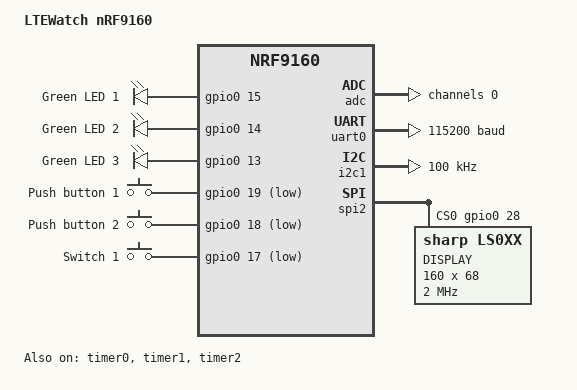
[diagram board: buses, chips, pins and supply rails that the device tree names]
/*
 * Copyright (c) 2018-2020 Nordic Semiconductor ASA
 *
 * SPDX-License-Identifier: Apache-2.0
 */
#include "ltewatch_nrf9160_common-pinctrl.dtsi"

/ {
	model = "LTEWatch nRF9160";
	compatible = "nordic,ltewatch_nrf9160";

	chosen {
		zephyr,console = &uart0;
		zephyr,shell-uart = &uart0;
		zephyr,uart-mcumgr = &uart0;
		zephyr,display = &ls0xx;
	};

	leds {
		compatible = "gpio-leds";
		led0: led_0 {
			gpios = <&gpio0 15 0>;
			label = "Green LED 1";
		};
		led1: led_1 {
			gpios = <&gpio0 14 0>;
			label = "Green LED 2";
		};
		led2: led_2 {
			gpios = <&gpio0 13 0>;
			label = "Green LED 3";
		};
	};

	buttons {
		/*
		 * Unlike most DK boards, we do not actually have 4 buttons
		 * on nRF9160 DK. Instead, we have 2 buttons and 2 switches.
		 * Treat the switches as buttons anyway, for convenience.
		 * This makes life easier for software that wants to deal with
		 * the usual "4 buttons per DK board" convention.
		 */
		compatible = "gpio-keys";
		button0: button_0 {
			gpios = <&gpio0 19 (GPIO_PULL_UP | GPIO_ACTIVE_LOW)>;
			label = "Push button 1";
		};
		button1: button_1 {
			gpios = <&gpio0 18 (GPIO_PULL_UP | GPIO_ACTIVE_LOW)>;
			label = "Push button 2";
		};
		button2: button_2 {
			gpios = <&gpio0 17 (GPIO_PULL_UP | GPIO_ACTIVE_LOW)>;
			label = "Switch 1";
		};
	};

	nrf52840_reset: gpio-reset {
		compatible = "nordic,nrf9160dk-nrf52840-reset";
		status = "disabled";
		/*
		 * This line is specified as active high for compatibility
		 * with the previously used Kconfig-based configuration.
		 */
		gpios = <&interface_to_nrf52840 5 GPIO_ACTIVE_HIGH>;
	};

	/* These aliases are provided for compatibility with samples */
	aliases {
		led0 = &led0;
		led1 = &led1;
		led2 = &led2;
		sw0 = &button0;
		sw1 = &button1;
		sw2 = &button2;
		bootloader-led0 = &led0;
		mcuboot-button0 = &button0;
		mcuboot-led0 = &led0;
		watchdog0 = &wdt0;
	};
};

&adc {
	#address-cells = <1>;
	#size-cells = <0>;
    status = "okay";

	channel@0 {
		reg = <0>;
		zephyr,gain = "ADC_GAIN_1_5";
		zephyr,reference = "ADC_REF_INTERNAL";
		zephyr,acquisition-time = <ADC_ACQ_TIME_DEFAULT>;
		zephyr,input-positive = <NRF_SAADC_AIN3>;  // P0.16 = AIN3
		zephyr,resolution = <12>;
	};
};

&gpiote {
	status = "okay";
};

&gpio0 {
	status = "okay";
};

&uart0 {
	status = "okay";
	current-speed = <115200>;
	pinctrl-0 = <&uart0_default>;
	pinctrl-1 = <&uart0_sleep>;
	pinctrl-names = "default", "sleep";
};


&uart2 {
	pinctrl-0 = <&uart2_default>;
	pinctrl-1 = <&uart2_sleep>;
	pinctrl-names = "default", "sleep";
};

&timer0 {
	status = "okay";
};

&timer1 {
	status = "okay";
};

&timer2 {
	status = "okay";
};

&i2c1 {
    compatible = "nordic,nrf-twim";
	status = "okay";
    pinctrl-0 = <&i2c1_default>;
    /* sleep state (only applicable if CONFIG_PM_DEVICE=y) */
    pinctrl-1 = <&i2c1_sleep>;
    /* state assigned to each pinctrl-N property by index */
    pinctrl-names = "default", "sleep";
    clock-frequency = <I2C_BITRATE_STANDARD>;
};

&spi2 {
	compatible = "nordic,nrf-spim";
	status = "okay";
    cs-gpios = <&gpio0 28 GPIO_ACTIVE_HIGH>, 	//Display scs
				<&gpio0 20 GPIO_ACTIVE_LOW>;	//Accelerometer scs
	pinctrl-0 = <&spi2_default>;
	pinctrl-1 = <&spi2_sleep>;
	pinctrl-names = "default", "sleep";
	ls0xx: ls0xx@0 {
		compatible = "sharp,ls0xx";
		label = "DISPLAY";
		spi-max-frequency = <2000000>;
		width = <160>;
		height = <68>;
		reg = <0>;
	};
};


&flash0 {

	partitions {
		compatible = "fixed-partitions";
		#address-cells = <1>;
		#size-cells = <1>;

		boot_partition: partition@0 {
			label = "mcuboot";
			reg = <0x00000000 0x10000>;
		};
		slot0_partition: partition@10000 {
			label = "image-0";
		};
		slot0_ns_partition: partition@50000 {
			label = "image-0-nonsecure";
		};
		slot1_partition: partition@80000 {
			label = "image-1";
		};
		slot1_ns_partition: partition@c0000 {
			label = "image-1-nonsecure";
		};
		scratch_partition: partition@f0000 {
			label = "image-scratch";
			reg = <0x000f0000 0xa000>;
		};
		storage_partition: partition@fa000 {
			label = "storage";
			reg = <0x000fa000 0x00006000>;
		};
	};
};

/ {

	reserved-memory {
		#address-cells = <1>;
		#size-cells = <1>;
		ranges;

		sram0_s: image_s@20000000 {
			/* Secure image memory */
		};

		sram0_modem: image_modem@20016000 {
			/* Modem (shared) memory */
		};

		sram0_ns: image_ns@20020000 {
			/* Non-Secure image memory */
		};
	};
};

/* Include partition configuration file */
#include "ltewatch_nrf9160_partition_conf.dts"
